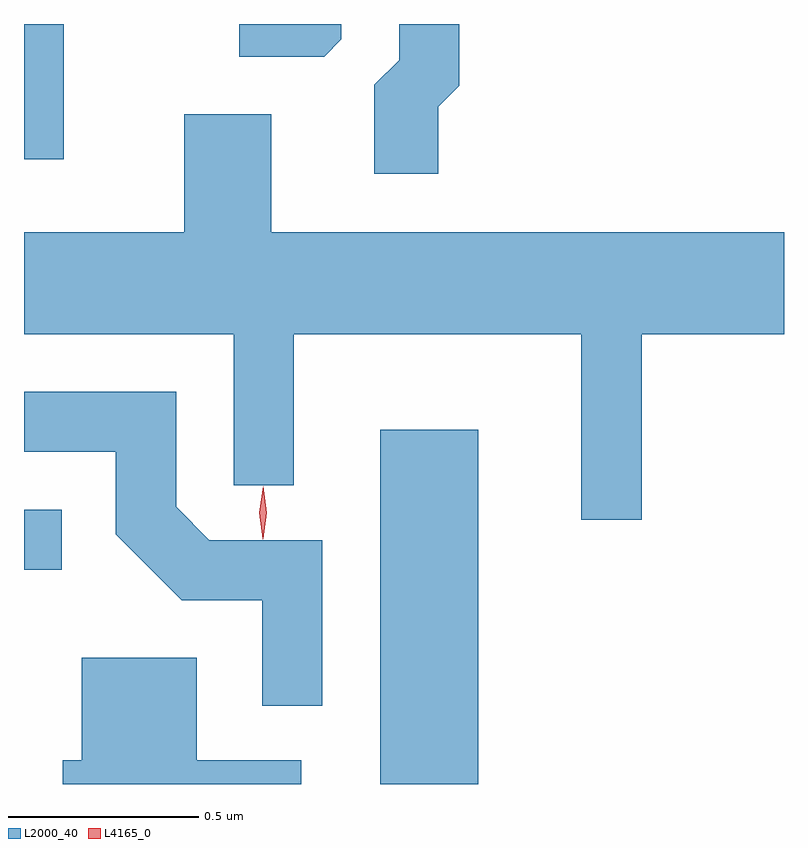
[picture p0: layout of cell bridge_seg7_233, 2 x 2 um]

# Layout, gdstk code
import gdstk
lib = gdstk.Library(unit=1e-6, precision=1e-09)
def R(c, l, rs):  # rectangles x0, y0, x1, y1
    for r in rs: c.add(gdstk.rectangle(r[:2], r[2:], *l))
def P(c, l, *ps):  # polygons
    for p in ps: c.add(gdstk.Polygon(p, *l))
L2000_40 = (2000, 40)
L4165_0 = (4165, 0)

bridge_seg7_233 = lib.new_cell('bridge_seg7_233')
R(bridge_seg7_233, L2000_40, [(1788.166,1688.712,1788.424,1689.644), (1787.229,1689.276,1787.328,1689.434), (1787.229,1690.356,1787.334,1690.712)])
P(bridge_seg7_233, L2000_40, [(1788.319,1690.494),(1788.374,1690.549),(1788.374,1690.712),(1788.216,1690.712),(1788.216,1690.617),(1788.151,1690.552),(1788.151,1690.318),(1788.319,1690.318)],
  [(1788.064,1690.672),(1788.064,1690.712),(1787.796,1690.712),(1787.796,1690.626),(1788.019,1690.626)],
  [(1788.854,1689.896),(1789.229,1689.896),(1789.229,1690.164),(1787.879,1690.164),(1787.879,1690.474),(1787.651,1690.474),(1787.651,1690.164),(1787.229,1690.164),(1787.229,1689.896),(1787.781,1689.896),(1787.781,1689.498),(1787.939,1689.498),(1787.939,1689.896),(1788.696,1689.896),(1788.696,1689.408),(1788.854,1689.408)],
  [(1788.014,1689.354),(1787.717,1689.354),(1787.629,1689.442),(1787.629,1689.744),(1787.229,1689.744),(1787.229,1689.586),(1787.471,1689.586),(1787.471,1689.369),(1787.644,1689.196),(1787.856,1689.196),(1787.856,1688.918),(1788.014,1688.918)],
  [(1787.959,1688.774),(1787.684,1688.774),(1787.684,1689.044),(1787.381,1689.044),(1787.381,1688.774),(1787.331,1688.774),(1787.331,1688.712),(1787.959,1688.712)])
P(bridge_seg7_233, L4165_0, [(1787.857,1689.356),(1787.857,1689.357),(1787.848,1689.426),(1787.858,1689.495),(1787.858,1689.496),(1787.859,1689.495),(1787.868,1689.426),(1787.858,1689.357)],
  [(1787.857,1689.359),(1787.857,1689.359),(1787.848,1689.426),(1787.858,1689.492),(1787.858,1689.492),(1787.859,1689.492),(1787.868,1689.426),(1787.858,1689.359)])

lib.write_gds('bridge_seg7_233.gds')
